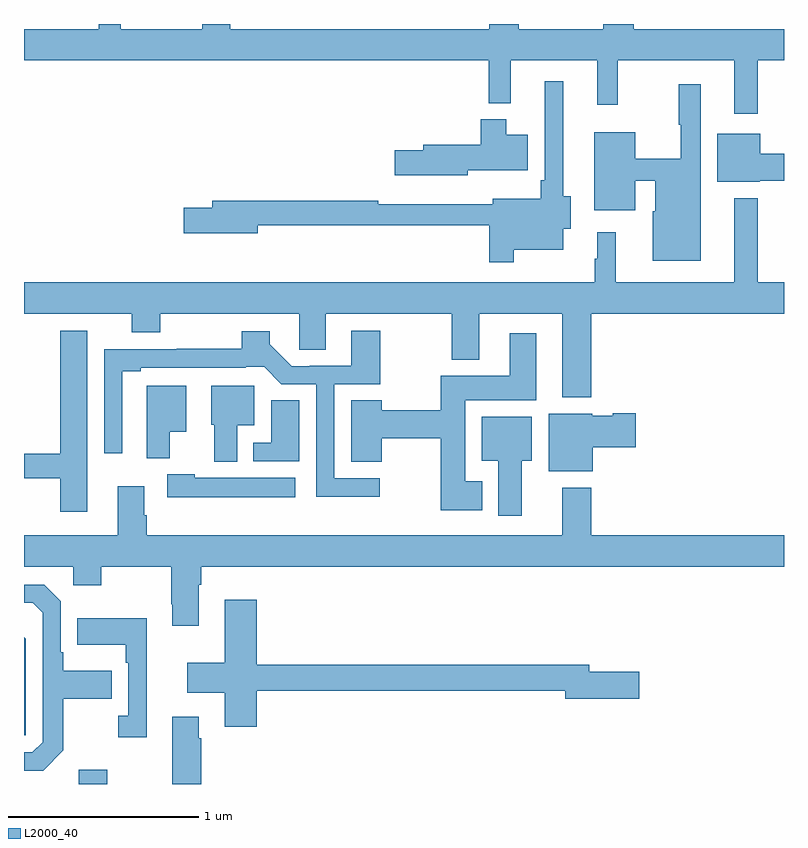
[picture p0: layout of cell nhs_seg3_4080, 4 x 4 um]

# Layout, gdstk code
import gdstk
lib = gdstk.Library(unit=1e-6, precision=1e-09)
def R(c, l, rs):  # rectangles x0, y0, x1, y1
    for r in rs: c.add(gdstk.rectangle(r[:2], r[2:], *l))
def P(c, l, *ps):  # polygons
    for p in ps: c.add(gdstk.Polygon(p, *l))
L2000_40 = (2000, 40)

nhs_seg3_4080 = lib.new_cell('nhs_seg3_4080')
R(nhs_seg3_4080, L2000_40, [(325.289,738.4,325.437,738.475)])
P(nhs_seg3_4080, L2000_40, [(328.861,742.208),(329,742.208),(329,742.372),(328.208,742.372),(328.208,742.4),(328.048,742.4),(328.048,742.372),(327.603,742.372),(327.603,742.4),(327.448,742.4),(327.448,742.372),(326.085,742.372),(326.085,742.4),(325.937,742.4),(325.937,742.372),(325.51,742.372),(325.51,742.4),(325.393,742.4),(325.393,742.372),(325,742.372),(325,742.208),(327.445,742.208),(327.445,741.983),(327.563,741.983),(327.563,742.208),(328.016,742.208),(328.016,741.975),(328.126,741.975),(328.126,742.208),(328.739,742.208),(328.739,741.927),(328.861,741.927)],
  [(327.577,741.212),(327.838,741.212),(327.838,741.323),(327.877,741.323),(327.877,741.494),(327.838,741.494),(327.838,742.099),(327.741,742.099),(327.741,741.577),(327.721,741.577),(327.721,741.481),(327.467,741.481),(327.467,741.451),(326.864,741.451),(326.864,741.47),(325.991,741.47),(325.991,741.434),(325.842,741.434),(325.842,741.299),(326.23,741.299),(326.23,741.342),(327.448,741.342),(327.448,741.147),(327.577,741.147)],
  [(328.561,742.084),(328.447,742.084),(328.447,741.87),(328.457,741.87),(328.457,741.692),(328.216,741.692),(328.216,741.829),(328.001,741.829),(328.001,741.419),(328.216,741.419),(328.216,741.575),(328.322,741.575),(328.322,741.414),(328.31,741.414),(328.31,741.155),(328.561,741.155)],
  [(327.336,741.629),(327.652,741.629),(327.652,741.817),(327.538,741.817),(327.538,741.898),(327.404,741.898),(327.404,741.765),(327.101,741.765),(327.101,741.735),(326.952,741.735),(326.952,741.605),(327.336,741.605)],
  [(328.872,741.575),(329,741.575),(329,741.717),(328.876,741.717),(328.876,741.823),(328.649,741.823),(328.649,741.569),(328.872,741.569)],
  [(327.986,740.876),(329,740.876),(329,741.04),(328.861,741.04),(328.861,741.484),(328.739,741.484),(328.739,741.04),(328.115,741.04),(328.115,741.304),(328.016,741.304),(328.016,741.164),(328.005,741.164),(328.005,741.04),(325,741.04),(325,740.876),(325.568,740.876),(325.568,740.777),(325.716,740.777),(325.716,740.876),(326.448,740.876),(326.448,740.686),(326.587,740.686),(326.587,740.876),(327.25,740.876),(327.25,740.633),(327.397,740.633),(327.397,740.876),(327.833,740.876),(327.833,740.435),(327.986,740.435)],
  [(326.872,740.01),(326.634,740.01),(326.634,740.505),(326.874,740.505),(326.874,740.785),(326.723,740.785),(326.723,740.601),(326.503,740.601),(326.503,740.598),(326.409,740.598),(326.293,740.714),(326.293,740.782),(326.146,740.782),(326.146,740.69),(325.804,740.69),(325.804,740.688),(325.422,740.688),(325.422,740.142),(325.518,740.142),(325.518,740.572),(325.615,740.572),(325.615,740.592),(326.168,740.592),(326.168,740.595),(326.264,740.595),(326.354,740.505),(326.538,740.505),(326.538,739.913),(326.872,739.913)],
  [(325.333,740.785),(325.19,740.785),(325.19,740.138),(325,740.138),(325,740.01),(325.19,740.01),(325.19,739.833),(325.333,739.833)],
  [(327.412,739.993),(327.322,739.993),(327.322,740.42),(327.697,740.42),(327.697,740.773),(327.557,740.773),(327.557,740.548),(327.193,740.548),(327.193,740.366),(326.884,740.366),(326.884,740.42),(326.723,740.42),(326.723,740.095),(326.884,740.095),(326.884,740.219),(327.193,740.219),(327.193,739.841),(327.412,739.841)],
  [(325.768,740.255),(325.855,740.255),(325.855,740.497),(325.646,740.497),(325.646,740.114),(325.768,740.114)],
  [(326.122,740.288),(326.212,740.288),(326.212,740.497),(325.985,740.497),(325.985,740.292),(326,740.292),(326,740.096),(326.122,740.096)],
  [(326.449,740.42),(326.3,740.42),(326.3,740.196),(326.207,740.196),(326.207,740.1),(326.449,740.1)],
  [(327.994,740.173),(328.219,740.173),(328.219,740.351),(328.098,740.351),(328.098,740.338),(327.99,740.338),(327.99,740.35),(327.761,740.35),(327.761,740.045),(327.994,740.045)],
  [(327.619,740.102),(327.673,740.102),(327.673,740.332),(327.41,740.332),(327.41,740.102),(327.497,740.102),(327.497,739.812),(327.619,739.812)],
  [(326.428,740.011),(325.899,740.011),(325.899,740.029),(325.755,740.029),(325.755,739.91),(326.428,739.91)],
  [(325.921,739.448),(325.934,739.448),(325.934,739.544),(329,739.544),(329,739.708),(327.986,739.708),(327.986,739.96),(327.833,739.96),(327.833,739.708),(325.646,739.708),(325.646,739.814),(325.633,739.814),(325.633,739.966),(325.493,739.966),(325.493,739.708),(325,739.708),(325,739.544),(325.26,739.544),(325.26,739.445),(325.407,739.445),(325.407,739.544),(325.774,739.544),(325.774,739.345),(325.781,739.345),(325.781,739.233),(325.921,739.233)],
  [(325.207,738.577),(325.207,738.85),(325.463,738.85),(325.463,738.997),(325.207,738.997),(325.207,739.093),(325.194,739.093),(325.194,739.362),(325.107,739.449),(325,739.449),(325,739.353),(325.047,739.353),(325.098,739.302),(325.098,738.621),(325.044,738.567),(325,738.567),(325,738.471),(325.101,738.471)],
  [(326.225,738.892),(327.848,738.892),(327.848,738.85),(328.237,738.85),(328.237,738.992),(327.976,738.992),(327.976,739.028),(326.225,739.028),(326.225,739.369),(326.057,739.369),(326.057,739.039),(325.86,739.039),(325.86,738.881),(326.057,738.881),(326.057,738.702),(326.225,738.702)],
  [(325.646,739.273),(325.279,739.273),(325.279,739.133),(325.536,739.133),(325.536,739.037),(325.548,739.037),(325.548,738.758),(325.497,738.758),(325.497,738.645),(325.646,738.645)],
  [(325.008,739.164),(325,739.172),(325,738.657),(325.008,738.657)],
  [(325.934,738.641),(325.921,738.641),(325.921,738.754),(325.781,738.754),(325.781,738.4),(325.934,738.4)])

lib.write_gds('nhs_seg3_4080.gds')
